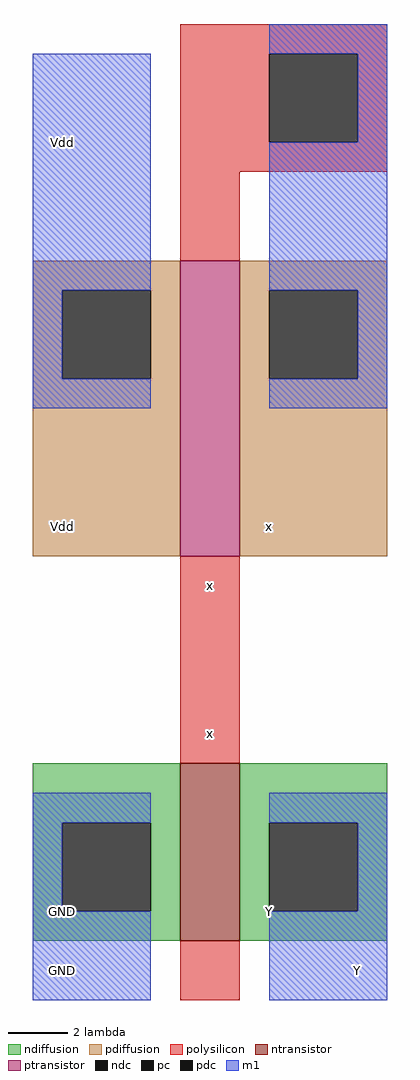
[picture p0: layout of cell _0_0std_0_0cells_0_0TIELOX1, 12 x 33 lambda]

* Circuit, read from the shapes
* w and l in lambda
.subckt _0_0std_0_0cells_0_0TIELOX1 Vdd
M1 Y x GND VSUBS nfet w=6 l=2
M2 x x Vdd NWELL pfet w=10 l=2
.ends

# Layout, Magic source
magic
tech sky130l
<< ndiffusion >>
rect 8 10 13 12
rect 8 7 9 10
rect 12 7 13 10
rect 8 6 13 7
rect 15 10 20 12
rect 15 7 16 10
rect 19 7 20 10
rect 15 6 20 7
<< ndc >>
rect 9 7 12 10
rect 16 7 19 10
<< ntransistor >>
rect 13 6 15 12
<< pdiffusion >>
rect 8 28 13 29
rect 8 25 9 28
rect 12 25 13 28
rect 8 19 13 25
rect 15 28 20 29
rect 15 25 16 28
rect 19 25 20 28
rect 15 19 20 25
<< pdc >>
rect 9 25 12 28
rect 16 25 19 28
<< ptransistor >>
rect 13 19 15 29
<< polysilicon >>
rect 13 36 20 37
rect 13 33 16 36
rect 19 33 20 36
rect 13 32 20 33
rect 13 29 15 32
rect 13 12 15 19
rect 13 4 15 6
<< pc >>
rect 16 33 19 36
<< m1 >>
rect 16 36 20 37
rect 8 28 12 36
rect 8 25 9 28
rect 8 24 12 25
rect 19 33 20 36
rect 16 28 20 33
rect 19 25 20 28
rect 16 24 20 25
rect 8 10 12 11
rect 8 7 9 10
rect 8 4 12 7
rect 16 10 20 11
rect 19 7 20 10
rect 16 4 20 7
<< labels >>
rlabel ndiffusion 16 7 16 7 3 Y
rlabel pdiffusion 16 20 16 20 3 x
rlabel polysilicon 14 13 14 13 3 x
rlabel polysilicon 14 18 14 18 3 x
rlabel ndiffusion 9 7 9 7 3 GND
rlabel pdiffusion 9 20 9 20 3 Vdd
rlabel m1 9 33 9 33 3 Vdd
port 3 e
rlabel m1 9 5 9 5 2 GND
rlabel m1 19 5 19 5 8 Y
<< end >>
